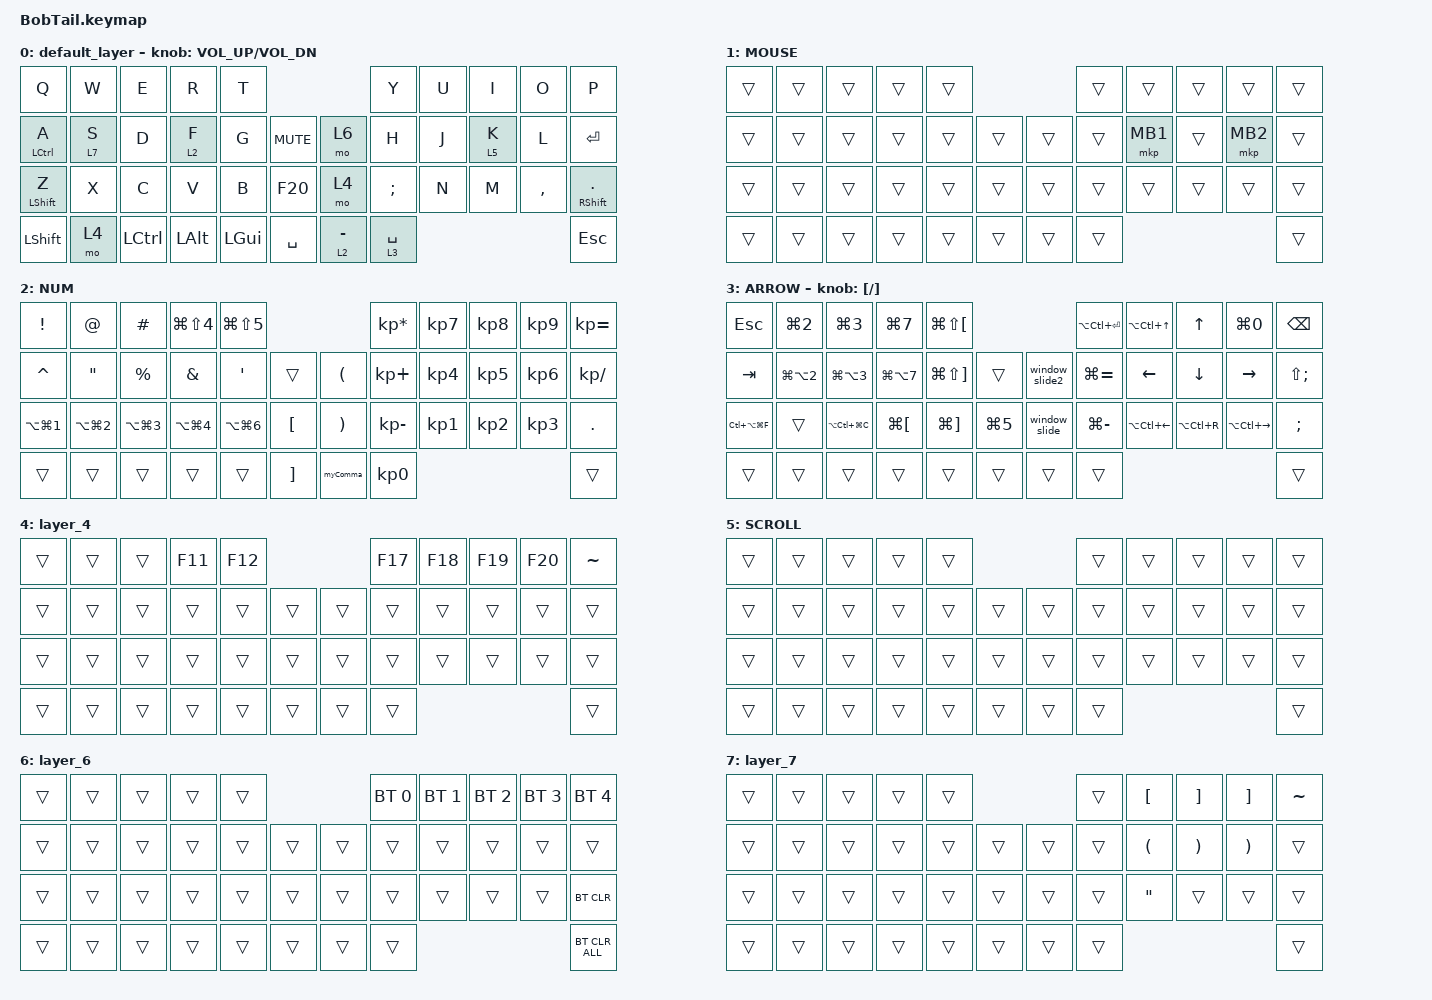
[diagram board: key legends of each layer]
#include <behaviors.dtsi>
#include <dt-bindings/zmk/bt.h>
#include <dt-bindings/zmk/keys.h>
#include <dt-bindings/zmk/pointing.h>

#define MOUSE 1
#define SCROLL 5
#define NUM 6

#undef ZMK_POINTING_DEFAULT_SCRL_VAL

#define ZMK_POINTING_DEFAULT_SCRL_VAL 140

&mt {
    flavor = "tap-preferred";
    tapping-term-ms = <180>;
    quick-tap-ms = <150>;
};

&lt {
    flavor = "tap-preferred";
    tapping-term-ms = <200>;
    quick-tap-ms = <0>;
    require-prior-idle-ms = <150>;
};

/ {
    combos {
        compatible = "zmk,combos";

        lang1 {
            bindings = <&toLayer0_lang1>;
            key-positions = <18 19>;
            timeout-ms = <30>;
        };

        lang2 {
            bindings = <&toLayer0_lang2>;
            key-positions = <19 20>;
            timeout-ms = <30>;
        };

        window_right {
            bindings = <&kp LC(RIGHT_ARROW)>;
            key-positions = <12 13>;
        };

        window_left {
            bindings = <&kp LC(LEFT_ARROW)>;
            key-positions = <12 11>;
        };

        backspace {
            bindings = <&kp BACKSPACE>;
            key-positions = <8 9>;
        };

        question {
            bindings = <&kp SLASH>;
            key-positions = <31 32>;
        };

        under {
            bindings = <&myUnder>;
            key-positions = <30 31>;
        };

        sana {
            bindings = <&kp LA(SPACE)>;
            key-positions = <24 23>;
        };

        raycast {
            bindings = <&Raycast>;
            key-positions = <8 7>;
        };

        escape {
            bindings = <&kp ESCAPE>;
            key-positions = <0 1>;
        };

        paste {
            bindings = <&kp LG(LC(V))>;
            key-positions = <1 2>;
        };
    };

    behaviors {
        encoder_msc_down_up: encoder_msc_down_up {
            compatible = "zmk,behavior-sensor-rotate";
            label = "ENCODER_MSC_DOWN_UP";
            #sensor-binding-cells = <0>;
            bindings = <&msc SCRL_UP>, <&msc SCRL_DOWN>;

            /* 20ms から 12ms 程度へ短縮して連射速度を上げます */

            tap-ms = <20>;
        };

        z_mt: z_mt {
            compatible = "zmk,behavior-hold-tap";
            label = "Z_MOD_TAP";
            #binding-cells = <2>;
            flavor = "tap-preferred";
            tapping-term-ms = <200>;
            quick-tap-ms = <150>;

            /* require-prior-idle-ms は付けない。
               直前に打鍵があるとホールド判定自体が走らず、
               タイピング中の Shift が効かなくなるため。
               誤ホールドは flavor=tap-preferred と
               tapping-term-ms=200 で防ぐ。 */

            bindings = <&kp>, <&kp>;
        };

        /* Aキー用の設定を追加 */

        a_mt: a_mt {
            compatible = "zmk,behavior-hold-tap";
            label = "A_MOD_TAP";
            #binding-cells = <2>;
            flavor = "tap-preferred";
            tapping-term-ms = <200>;
            quick-tap-ms = <150>;
            bindings = <&kp>, <&kp>;
        };

        spc_lt: spc_lt {
            compatible = "zmk,behavior-hold-tap";
            label = "SPACE_LAYER_TAP";
            #binding-cells = <2>;
            flavor = "balanced";
            tapping-term-ms = <200>;
            quick-tap-ms = <0>;
            bindings = <&mo>, <&kp>;
        };
    };

    macros {
        window_slide: window_slide {
            compatible = "zmk,behavior-macro";
            #binding-cells = <0>;
            bindings =
                <&kp LA(LC(LG(RIGHT_ARROW)))>,
                <&macro_wait_time 50>,
                <&kp LA(LC(RET))>;

            label = "WINDOW_SLIDE";
        };

        window_slide2: window_slide2 {
            compatible = "zmk,behavior-macro";
            #binding-cells = <0>;
            bindings =
                <&kp LA(LC(LG(LEFT_ARROW)))>,
                <&macro_wait_time 50>,
                <&kp LC(LA(UP_ARROW))>;

            label = "WINDOW_SLIDE2";
        };

        myComma: myComma {
            compatible = "zmk,behavior-macro";
            #binding-cells = <0>;
            bindings = <&kp LANG2>, <&macro_wait_time 15>, <&kp COMMA>;

            label = "MYCOMMA";
        };

        myUnder: myUnder {
            compatible = "zmk,behavior-macro";
            #binding-cells = <0>;
            bindings = <&kp LANG2>, <&macro_wait_time 15>, <&kp UNDER>;

            label = "MYUNDER";
        };

        myKakko1: myKakko1 {
            compatible = "zmk,behavior-macro";
            #binding-cells = <0>;
            bindings = <&kp LEFT_PARENTHESIS &kp RIGHT_PARENTHESIS>;
            label = "MYKAKKO1";
        };

        myKakko2: myKakko2 {
            compatible = "zmk,behavior-macro";
            #binding-cells = <0>;
            bindings = <&kp LEFT_BRACKET &kp RIGHT_BRACKET>;
            label = "MYKAKKO2";
        };

        myKakko3: myKakkko3 {
            compatible = "zmk,behavior-macro";
            #binding-cells = <0>;
            bindings = <&kp DOUBLE_QUOTES &kp DOUBLE_QUOTES>;
            label = "MYKAKKKO3";
        };

        alt_tab_stay: alt_tab_stay {
            compatible = "zmk,behavior-macro";
            #binding-cells = <0>;
            bindings =
                <&macro_press>,
                <&kp LEFT_ALT>,
                <&macro_tap>,
                <&kp TAB>,
                <&macro_pause_for_release>,
                <&macro_release>,
                <&kp LEFT_ALT>;

            label = "ALT_TAB_STAY";
        };

        Raycast: Raycast {
            compatible = "zmk,behavior-macro";
            #binding-cells = <0>;
            bindings =
                <&macro_press>,
                <&kp LEFT_ALT &kp LEFT_GUI>,
                <&macro_tap>,
                <&kp SPACE>,
                <&macro_release>,
                <&kp LEFT_ALT &kp LEFT_GUI>;

            label = "RAYCAST";
        };

        toLayer0_lang1: toLayer0_lang1 {
            compatible = "zmk,behavior-macro";
            #binding-cells = <0>;
            bindings = <&to 0 &kp LANG1>;
            label = "TOLAYER0_LANG1";
        };

        toLayer0_lang2: toLayer0_lang2 {
            compatible = "zmk,behavior-macro";
            #binding-cells = <0>;
            bindings = <&to 0 &kp LANG2>;
            label = "TOLAYER0_LANG2";
        };

        to_layer_0: to_layer_0 {
            compatible = "zmk,behavior-macro-one-param";
            #binding-cells = <1>;
            bindings = <&to 0 &macro_param_1to1 &kp MACRO_PLACEHOLDER>;
            label = "TO_LAYER_0";
        };
    };

    keymap {
        compatible = "zmk,keymap";

        default_layer {
            bindings = <
&kp Q               &kp W    &kp E      &kp R         &kp T                                      &kp Y            &kp U  &kp I    &kp O      &kp P
&a_mt LCTRL A       &lt 7 S  &kp D      &lt 2 F       &kp G         &kp K_MUTE      &mo 6        &kp H            &kp J  &lt 5 K  &kp L      &kp RET
&z_mt LEFT_SHIFT Z  &kp X    &kp C      &kp V         &kp B         &kp F20         &mo 4        &kp SEMICOLON    &kp N  &kp M    &kp COMMA  &mt RSHIFT PERIOD
&kp LEFT_SHIFT      &mo 4    &kp LCTRL  &kp LEFT_ALT  &kp LEFT_GUI  &kp SPACE       &lt 2 MINUS  &spc_lt 3 SPACE                             &kp ESCAPE
            >;

            sensor-bindings = <&inc_dec_kp C_VOL_UP C_VOL_DN>;
        };

        MOUSE {
            bindings = <
&trans  &trans  &trans  &trans  &trans                      &trans  &trans    &trans  &trans    &trans
&trans  &trans  &trans  &trans  &trans  &trans      &trans  &trans  &mkp MB1  &trans  &mkp MB2  &trans
&trans  &trans  &trans  &trans  &trans  &trans      &trans  &trans  &trans    &trans  &trans    &trans
&trans  &trans  &trans  &trans  &trans  &trans      &trans  &trans                              &trans
            >;
        };

        NUM {
            bindings = <
&kp EXCL              &kp AT                &kp HASH              &kp LG(LS(N4))        &kp LG(LS(N5))                                                      &kp KP_MULTIPLY  &kp KP_NUMBER_7  &kp KP_NUMBER_8  &kp KP_NUMBER_9  &kp KP_EQUAL
&kp CARET             &kp DOUBLE_QUOTES     &kp PERCENT           &kp AMPERSAND         &kp SINGLE_QUOTE      &trans                 &kp LEFT_PARENTHESIS   &kp KP_PLUS      &kp KP_NUMBER_4  &kp KP_NUMBER_5  &kp KP_NUMBER_6  &kp KP_SLASH
&kp LA(LG(NUMBER_1))  &kp LA(LG(NUMBER_2))  &kp LA(LG(NUMBER_3))  &kp LA(LG(NUMBER_4))  &kp LA(LG(NUMBER_6))  &kp LEFT_BRACKET       &kp RIGHT_PARENTHESIS  &kp KP_MINUS     &kp KP_NUMBER_1  &kp KP_NUMBER_2  &kp KP_NUMBER_3  &kp PERIOD
&trans                &trans                &trans                &trans                &trans                &kp RIGHT_BRACKET      &myComma               &kp KP_NUMBER_0                                                     &trans
            >;
        };

        ARROW {
            bindings = <
&kp ESCAPE         &kp LG(NUMBER_2)      &kp LG(NUMBER_3)      &kp LG(NUMBER_7)      &kp LG(LS(LEFT_BRACKET))                                   &kp LA(LC(RET))  &kp LA(LC(UP_ARROW))    &kp UP_ARROW    &kp LG(NUMBER_0)         &kp BACKSPACE
&kp TAB            &kp LG(LA(NUMBER_2))  &kp LG(LA(NUMBER_3))  &kp LG(LA(NUMBER_7))  &kp LG(LS(RIGHT_BRACKET))  &trans          &window_slide2  &kp LG(EQUAL)    &kp LEFT_ARROW          &kp DOWN_ARROW  &kp RIGHT_ARROW          &kp LS(SEMI)
&kp LC(LA(LG(F)))  &trans                &kp LA(LC(LG(C)))     &kp LG(LEFT_BRACKET)  &kp LG(RIGHT_BRACKET)      &kp LG(N5)      &window_slide   &kp LG(MINUS)    &kp LA(LC(LEFT_ARROW))  &kp LA(LC(R))   &kp LA(LC(RIGHT_ARROW))  &kp SEMI
&trans             &trans                &trans                &trans                &trans                     &trans          &trans          &trans                                                                            &trans
            >;

            sensor-bindings = <&inc_dec_kp LEFT_BRACKET RIGHT_BRACKET>;
        };

        layer_4 {
            bindings = <
&trans  &trans  &trans  &kp F11  &kp F12                      &kp F17  &kp F18  &kp F19  &kp F20  &kp TILDE
&trans  &trans  &trans  &trans   &trans   &trans      &trans  &trans   &trans   &trans   &trans   &trans
&trans  &trans  &trans  &trans   &trans   &trans      &trans  &trans   &trans   &trans   &trans   &trans
&trans  &trans  &trans  &trans   &trans   &trans      &trans  &trans                              &trans
            >;
        };

        SCROLL {
            bindings = <
&trans  &trans  &trans  &trans  &trans                      &trans  &trans  &trans  &trans  &trans
&trans  &trans  &trans  &trans  &trans  &trans      &trans  &trans  &trans  &trans  &trans  &trans
&trans  &trans  &trans  &trans  &trans  &trans      &trans  &trans  &trans  &trans  &trans  &trans
&trans  &trans  &trans  &trans  &trans  &trans      &trans  &trans                          &trans
            >;
        };

        layer_6 {
            bindings = <
&trans  &trans  &trans  &trans  &trans                      &bt BT_SEL 0  &bt BT_SEL 1  &bt BT_SEL 2  &bt BT_SEL 3  &bt BT_SEL 4
&trans  &trans  &trans  &trans  &trans  &trans      &trans  &trans        &trans        &trans        &trans        &trans
&trans  &trans  &trans  &trans  &trans  &trans      &trans  &trans        &trans        &trans        &trans        &bt BT_CLR
&trans  &trans  &trans  &trans  &trans  &trans      &trans  &trans                                                  &bt BT_CLR_ALL
            >;
        };

        layer_7 {
            bindings = <
&trans  &trans  &trans  &trans  &trans                      &trans  &kp LEFT_BRACKET      &kp RIGHT_BRACKET      &kp RIGHT_BRACKET      &kp TILDE
&trans  &trans  &trans  &trans  &trans  &trans      &trans  &trans  &kp LEFT_PARENTHESIS  &kp RIGHT_PARENTHESIS  &kp RIGHT_PARENTHESIS  &trans
&trans  &trans  &trans  &trans  &trans  &trans      &trans  &trans  &kp DOUBLE_QUOTES     &trans                 &trans                 &trans
&trans  &trans  &trans  &trans  &trans  &trans      &trans  &trans                                                                      &trans
            >;
        };
    };
};
